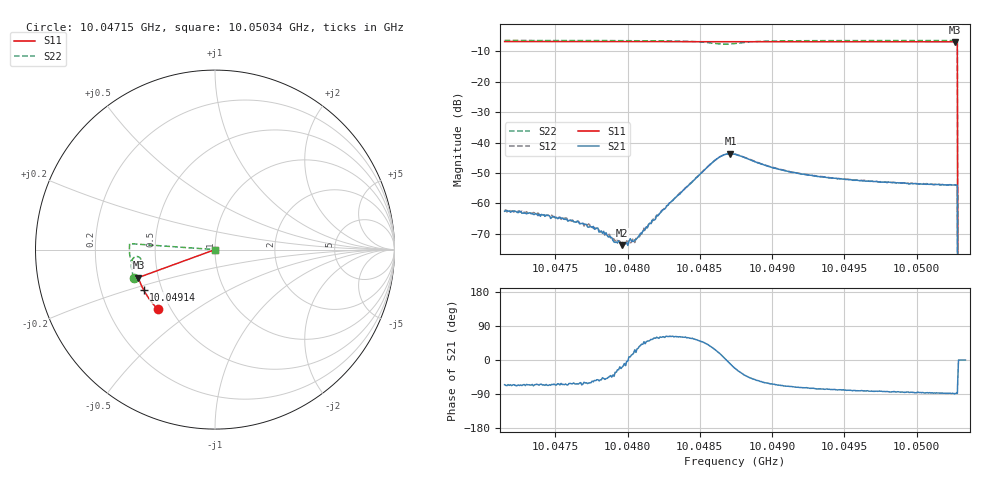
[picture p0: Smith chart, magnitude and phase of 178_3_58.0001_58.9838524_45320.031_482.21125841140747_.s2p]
#  HZ  S  RI  R  50.00
! Rohde & Schwarz Vector Network Analyzer
! Rohde-Schwarz,ZNB20-2Port,1311601062101988,3.16
! Created: UTC 3/21/2024, 12:58:13 AM
! freq[Hz]  re:S11  im:S11  re:S21  im:S21  re:S12  im:S12  re:S22  im:S22
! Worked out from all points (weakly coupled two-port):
!   401 points, 10.04715 GHz to 10.05034 GHz, reference 50 ohm
!   highest |S21| = -43.66 dB at 10.04871 GHz (marker M1); lowest = -73.8 dB at 10.04796 GHz (marker M2)
!   lowest |S11| = -6.8 dB at 10.05027 GHz (marker M3), VSWR 2.67, Z = 19.2 - j7.61 ohm
!   |S11| at or under -10 dB: 10.05028 GHz to end of sweep
!   |S22| runs from - to -6.4 dB; largest |S21 - S12| = 0.00048
!   S11 on the Smith chart (normalised r, x): 10.04715 GHz: 0.43, -0.36; 10.04914 GHz: 0.40, -0.22; 10.05034 GHz: 1.00, +0.00
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1.004715e10  -0.3203 -0.3307  0.000311 -0.000676  0.000352 -0.000679  -0.4527 -0.157
1.0047365e10  -0.3301 -0.3204  0.000291 -0.000618  0.000313 -0.000611  -0.457 -0.1427
1.0047548e10  -0.3382 -0.3112  0.000248 -0.000524  0.000271 -0.000459  -0.4602 -0.13
1.0047684e10  -0.3439 -0.3043  0.000192 -0.000429  0.000262 -0.000406  -0.4624 -0.1205
1.0047739e10  -0.3463 -0.3016  0.000206 -0.00036  0.000248 -0.000359  -0.4631 -0.1163
1.0047835e10  -0.3502 -0.2966  0.00023 -0.000262  0.000214 -0.000243  -0.4643 -0.109
1.0047915e10  -0.3535 -0.2924  0.000193 -0.000123  0.000193 -0.000148  -0.4652 -0.1029
1.0047963e10  -0.3555 -0.2898  0.000193 -6.58e-05  0.00023 -5.23e-05  -0.4658 -0.0991
1.0048034e10  -0.3583 -0.286  0.00023 6.05e-05  0.000246 7.55e-05  -0.4663 -0.0933
1.0048066e10  -0.3596 -0.2843  0.000234 0.000131  0.000235 0.000141  -0.4665 -0.0905
1.0048218e10  -0.3655 -0.2764  0.000358 0.000557  0.000311 0.000597  -0.4664 -0.0768
1.0048592e10  -0.3789 -0.2554  0.0041 0.00253  0.00398 0.00277  -0.43 -0.0391
1.0048656e10  -0.381 -0.252  0.00599 0.00112  0.00598 0.00146  -0.414 -0.0517
1.0048712e10  -0.3828 -0.2491  0.00644 -0.00125  0.00655 -0.000805  -0.4138 -0.0713
1.0048744e10  -0.3839 -0.2475  0.00598 -0.00241  0.00616 -0.00205  -0.4202 -0.0801
1.0048983e10  -0.3923 -0.2341  0.00186 -0.00357  0.00209 -0.00347  -0.4628 -0.0695
1.0049142e10  -0.3974 -0.2248  0.00107 -0.00303  0.00124 -0.00302  -0.4705 -0.0531
1.0049278e10  -0.4016 -0.2168  0.000765 -0.00278  0.000929 -0.00275  -0.4735 -0.0407
1.0049812e10  -0.4163 -0.1848  0.000239 -0.00223  0.000389 -0.00219  -0.4767 0.000497
1.0050266e10  -0.4268 -0.1569  3.4e-05 -0.00201  0.00015 -0.002  -0.4757 0.032
1.0050306e10  0 0  0 0  0 0  0 0
1.0050338e10  0 0  0 0  0 0  0 0
